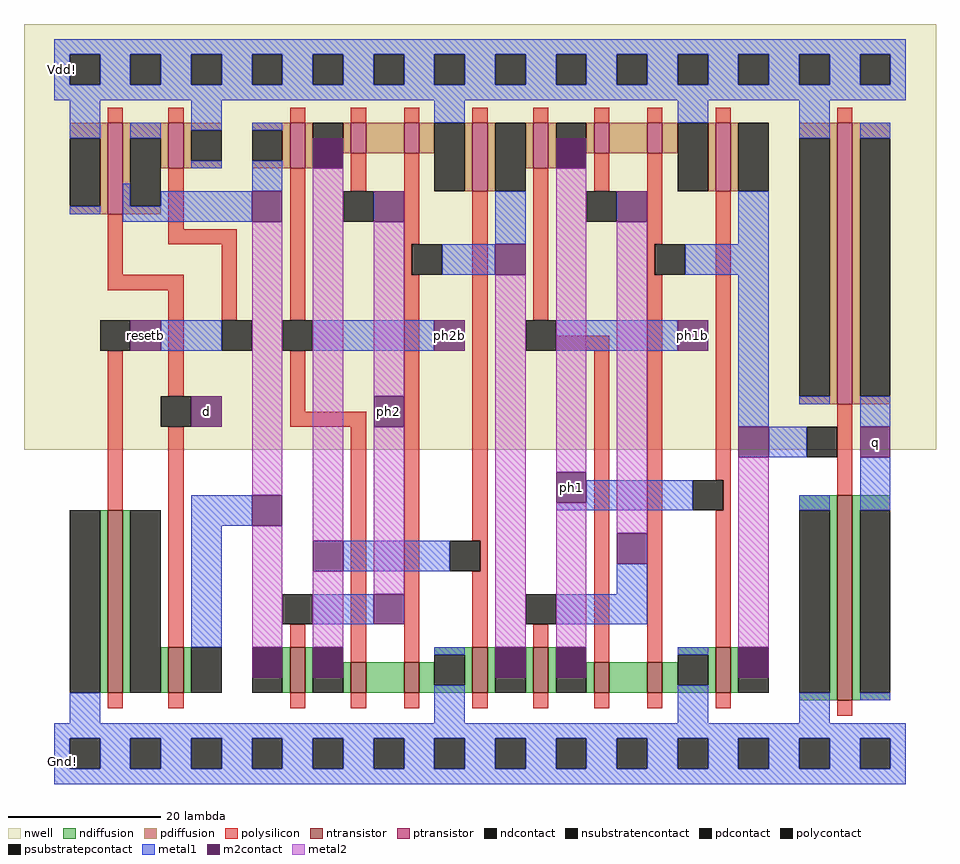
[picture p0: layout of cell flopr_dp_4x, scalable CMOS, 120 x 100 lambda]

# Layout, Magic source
magic
tech scmos
<< nwell >>
rect 26 40 146 96
<< ntransistor >>
rect 37 8 39 32
rect 45 8 47 14
rect 61 8 63 14
rect 69 8 71 12
rect 76 8 78 12
rect 85 8 87 14
rect 93 8 95 14
rect 101 8 103 12
rect 108 8 110 12
rect 117 8 119 14
rect 133 7 135 34
<< ptransistor >>
rect 37 71 39 83
rect 45 77 47 83
rect 61 77 63 83
rect 69 79 71 83
rect 76 79 78 83
rect 85 74 87 83
rect 93 77 95 83
rect 101 79 103 83
rect 108 79 110 83
rect 117 74 119 83
rect 133 46 135 83
<< ndiffusion >>
rect 36 8 37 32
rect 39 8 40 32
rect 44 8 45 14
rect 47 8 48 14
rect 60 8 61 14
rect 63 8 64 14
rect 80 13 85 14
rect 68 8 69 12
rect 71 8 76 12
rect 78 9 80 12
rect 84 9 85 13
rect 78 8 85 9
rect 87 8 88 14
rect 92 8 93 14
rect 95 8 96 14
rect 128 32 133 34
rect 112 13 117 14
rect 100 8 101 12
rect 103 8 108 12
rect 110 9 112 12
rect 116 9 117 13
rect 110 8 117 9
rect 119 8 120 14
rect 132 8 133 32
rect 128 7 133 8
rect 135 32 140 34
rect 135 8 136 32
rect 135 7 140 8
<< pdiffusion >>
rect 32 81 37 83
rect 36 72 37 81
rect 32 71 37 72
rect 39 81 45 83
rect 39 72 40 81
rect 44 77 45 81
rect 47 82 52 83
rect 47 78 48 82
rect 47 77 52 78
rect 56 82 61 83
rect 60 78 61 82
rect 56 77 61 78
rect 63 77 64 83
rect 68 79 69 83
rect 71 79 76 83
rect 78 79 80 83
rect 39 71 44 72
rect 84 74 85 83
rect 87 74 88 83
rect 92 77 93 83
rect 95 77 96 83
rect 100 79 101 83
rect 103 79 108 83
rect 110 79 112 83
rect 116 74 117 83
rect 119 74 120 83
rect 128 81 133 83
rect 132 47 133 81
rect 128 46 133 47
rect 135 81 140 83
rect 135 47 136 81
rect 135 46 140 47
<< ndcontact >>
rect 32 8 36 32
rect 40 8 44 32
rect 48 8 52 14
rect 56 8 60 14
rect 64 8 68 14
rect 80 9 84 13
rect 88 8 92 14
rect 96 8 100 14
rect 112 9 116 13
rect 120 8 124 14
rect 128 8 132 32
rect 136 8 140 32
<< pdcontact >>
rect 32 72 36 81
rect 40 72 44 81
rect 48 78 52 82
rect 56 78 60 82
rect 64 77 68 83
rect 80 74 84 83
rect 88 74 92 83
rect 96 77 100 83
rect 112 74 116 83
rect 120 74 124 83
rect 128 47 132 81
rect 136 47 140 81
<< psubstratepcontact >>
rect 32 -2 36 2
rect 40 -2 44 2
rect 48 -2 52 2
rect 56 -2 60 2
rect 64 -2 68 2
rect 72 -2 76 2
rect 80 -2 84 2
rect 88 -2 92 2
rect 96 -2 100 2
rect 104 -2 108 2
rect 112 -2 116 2
rect 120 -2 124 2
rect 128 -2 132 2
rect 136 -2 140 2
<< nsubstratencontact >>
rect 32 88 36 92
rect 40 88 44 92
rect 48 88 52 92
rect 56 88 60 92
rect 64 88 68 92
rect 72 88 76 92
rect 80 88 84 92
rect 88 88 92 92
rect 96 88 100 92
rect 104 88 108 92
rect 112 88 116 92
rect 120 88 124 92
rect 128 88 132 92
rect 136 88 140 92
<< polysilicon >>
rect 37 83 39 85
rect 45 83 47 85
rect 61 83 63 85
rect 69 83 71 85
rect 76 83 78 85
rect 85 83 87 85
rect 93 83 95 85
rect 101 83 103 85
rect 108 83 110 85
rect 117 83 119 85
rect 133 83 135 85
rect 37 63 39 71
rect 45 69 47 77
rect 45 67 54 69
rect 37 61 47 63
rect 37 32 39 53
rect 45 47 47 61
rect 52 57 54 67
rect 61 57 63 77
rect 69 74 71 79
rect 76 67 78 79
rect 76 63 77 67
rect 61 45 63 53
rect 61 43 71 45
rect 45 14 47 43
rect 61 14 63 17
rect 69 12 71 43
rect 76 12 78 63
rect 85 28 87 74
rect 93 57 95 77
rect 101 74 103 79
rect 108 67 110 79
rect 108 63 109 67
rect 96 53 103 55
rect 86 24 87 28
rect 85 14 87 24
rect 93 14 95 17
rect 101 12 103 53
rect 108 12 110 63
rect 117 36 119 74
rect 118 32 119 36
rect 133 34 135 46
rect 117 14 119 32
rect 37 6 39 8
rect 45 6 47 8
rect 61 6 63 8
rect 69 6 71 8
rect 76 6 78 8
rect 85 6 87 8
rect 93 6 95 8
rect 101 6 103 8
rect 108 6 110 8
rect 117 6 119 8
rect 133 5 135 7
<< polycontact >>
rect 36 53 40 57
rect 68 70 72 74
rect 77 63 81 67
rect 52 53 56 57
rect 60 53 64 57
rect 44 43 48 47
rect 60 17 64 21
rect 100 70 104 74
rect 109 63 113 67
rect 92 53 96 57
rect 82 24 86 28
rect 92 17 96 21
rect 129 39 133 43
rect 114 32 118 36
<< metal1 >>
rect 30 92 142 94
rect 30 88 32 92
rect 36 88 40 92
rect 44 88 48 92
rect 52 88 56 92
rect 60 88 64 92
rect 68 88 72 92
rect 76 88 80 92
rect 84 88 88 92
rect 92 88 96 92
rect 100 88 104 92
rect 108 88 112 92
rect 116 88 120 92
rect 124 88 128 92
rect 132 88 136 92
rect 140 88 142 92
rect 30 86 142 88
rect 32 81 36 86
rect 40 81 44 83
rect 32 71 36 72
rect 39 72 40 75
rect 48 82 52 86
rect 80 83 84 86
rect 112 83 116 86
rect 48 77 52 78
rect 56 82 60 83
rect 56 74 60 78
rect 44 72 56 74
rect 39 70 56 72
rect 88 67 92 74
rect 120 67 124 74
rect 81 63 88 67
rect 113 63 124 67
rect 44 53 52 57
rect 64 53 80 57
rect 96 53 112 57
rect 120 43 124 63
rect 128 81 132 86
rect 128 46 132 47
rect 136 81 140 83
rect 136 43 140 47
rect 124 39 129 43
rect 48 30 56 34
rect 100 33 114 36
rect 96 32 114 33
rect 128 32 132 34
rect 48 14 52 30
rect 68 24 82 28
rect 104 21 108 25
rect 64 17 72 21
rect 96 17 108 21
rect 80 13 84 14
rect 32 4 36 8
rect 80 4 84 9
rect 112 13 116 14
rect 112 4 116 9
rect 128 4 132 8
rect 136 32 140 39
rect 136 7 140 8
rect 30 2 142 4
rect 30 -2 32 2
rect 36 -2 40 2
rect 44 -2 48 2
rect 52 -2 56 2
rect 60 -2 64 2
rect 68 -2 72 2
rect 76 -2 80 2
rect 84 -2 88 2
rect 92 -2 96 2
rect 100 -2 104 2
rect 108 -2 112 2
rect 116 -2 120 2
rect 124 -2 128 2
rect 132 -2 136 2
rect 140 -2 142 2
rect 30 -4 142 -2
<< m2contact >>
rect 64 77 68 81
rect 96 77 100 81
rect 56 70 60 74
rect 72 70 76 74
rect 104 70 108 74
rect 88 63 92 67
rect 40 53 44 57
rect 80 53 84 57
rect 112 53 116 57
rect 48 43 52 47
rect 72 43 76 47
rect 120 39 124 43
rect 136 39 140 43
rect 56 30 60 34
rect 96 33 100 37
rect 64 24 68 28
rect 104 25 108 29
rect 72 17 76 21
rect 56 10 60 14
rect 64 10 68 14
rect 88 10 92 14
rect 96 10 100 14
rect 120 10 124 14
<< metal2 >>
rect 56 34 60 70
rect 56 14 60 30
rect 64 28 68 77
rect 64 14 68 24
rect 72 47 76 70
rect 72 21 76 43
rect 88 14 92 63
rect 96 37 100 77
rect 96 14 100 33
rect 104 29 108 70
rect 120 14 124 39
<< labels >>
rlabel metal1 31 -1 31 -1 2 Gnd!
rlabel metal1 31 90 31 90 3 Vdd!
rlabel m2contact 50 45 50 45 1 d
rlabel m2contact 42 55 42 55 1 resetb
rlabel m2contact 74 45 74 45 1 ph2
rlabel m2contact 82 55 82 55 1 ph2b
rlabel m2contact 114 55 114 55 1 ph1b
rlabel m2contact 98 35 98 35 1 ph1
rlabel m2contact 138 41 138 41 1 q
<< end >>
